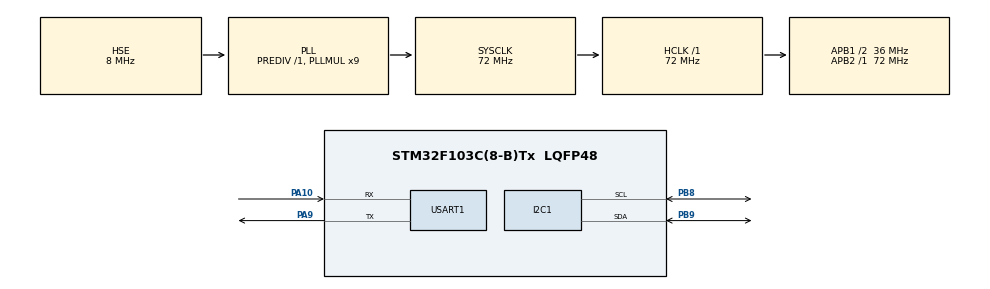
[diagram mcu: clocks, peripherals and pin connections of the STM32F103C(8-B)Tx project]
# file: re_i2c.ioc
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Dma.Request0=USART1_TX
Dma.Request1=USART1_RX
Dma.USART1_RX.1.Direction=DMA_PERIPH_TO_MEMORY
Dma.USART1_RX.1.Instance=DMA1_Channel5
Dma.USART1_RX.1.MemDataAlignment=DMA_MDATAALIGN_BYTE
Dma.USART1_RX.1.MemInc=DMA_MINC_ENABLE
Dma.USART1_RX.1.Mode=DMA_NORMAL
Dma.USART1_RX.1.PeriphDataAlignment=DMA_PDATAALIGN_BYTE
Dma.USART1_RX.1.PeriphInc=DMA_PINC_DISABLE
Dma.USART1_RX.1.Priority=DMA_PRIORITY_LOW
Dma.USART1_TX.0.Direction=DMA_MEMORY_TO_PERIPH
Dma.USART1_TX.0.Instance=DMA1_Channel4
Dma.USART1_TX.0.MemDataAlignment=DMA_MDATAALIGN_BYTE
Dma.USART1_TX.0.MemInc=DMA_MINC_ENABLE
Dma.USART1_TX.0.Mode=DMA_NORMAL
Dma.USART1_TX.0.PeriphDataAlignment=DMA_PDATAALIGN_BYTE
Dma.USART1_TX.0.PeriphInc=DMA_PINC_DISABLE
Dma.USART1_TX.0.Priority=DMA_PRIORITY_LOW
Mcu.Family=STM32F1
Mcu.Name=STM32F103C(8-B)Tx
Mcu.Package=LQFP48
NVIC.DMA1_Channel4_IRQn=true\:0\:0\:false\:false\:true\:false\:true\:true
NVIC.DMA1_Channel5_IRQn=true\:0\:0\:false\:false\:true\:false\:true\:true
NVIC.I2C1_ER_IRQn=true\:0\:0\:false\:false\:true\:true\:true\:true
NVIC.I2C1_EV_IRQn=true\:0\:0\:false\:false\:true\:true\:true\:true
NVIC.PriorityGroup=NVIC_PRIORITYGROUP_4
NVIC.USART1_IRQn=true\:0\:0\:false\:false\:true\:false\:true\:true
PA10.Mode=Asynchronous
PA10.Signal=USART1_RX
PA13.Mode=Serial_Wire
PA13.Signal=SYS_JTMS-SWDIO
PA14.Mode=Serial_Wire
PA14.Signal=SYS_JTCK-SWCLK
PA9.Mode=Asynchronous
PA9.Signal=USART1_TX
PB8.Mode=I2C
PB8.Signal=I2C1_SCL
PB9.Mode=I2C
PB9.Signal=I2C1_SDA
PD0-OSC_IN.Mode=HSE-External-Oscillator
PD0-OSC_IN.Signal=RCC_OSC_IN
PD1-OSC_OUT.Mode=HSE-External-Oscillator
PD1-OSC_OUT.Signal=RCC_OSC_OUT
ProjectManager.HeapSize=0x200
ProjectManager.StackSize=0x400
ProjectManager.TargetToolchain=MDK-ARM V5.32
RCC.AHBFreq_Value=72000000
RCC.APB1CLKDivider=RCC_HCLK_DIV2
RCC.APB1Freq_Value=36000000
RCC.APB1TimFreq_Value=72000000
RCC.APB2Freq_Value=72000000
RCC.APB2TimFreq_Value=72000000
RCC.HCLKFreq_Value=72000000
RCC.PLLMUL=RCC_PLL_MUL9
RCC.PLLSourceVirtual=RCC_PLLSOURCE_HSE
RCC.SYSCLKFreq_VALUE=72000000
RCC.SYSCLKSource=RCC_SYSCLKSOURCE_PLLCLK
RCC.USBFreq_Value=72000000
USART1.VirtualMode=VM_ASYNC
board=custom

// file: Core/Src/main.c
/* USER CODE BEGIN Header */
/**
  ******************************************************************************
  * @file           : main.c
  * @brief          : Main program body
  ******************************************************************************
  * @attention
  *
  * Copyright (c) 2026 STMicroelectronics.
  * All rights reserved.
  *
  * This software is licensed under terms that can be found in the LICENSE file
  * in the root directory of this software component.
  * If no LICENSE file comes with this software, it is provided AS-IS.
  *
  ******************************************************************************
  */
/* USER CODE END Header */
#include "main.h"
#include "dma.h"
#include "i2c.h"
#include "usart.h"
#include "gpio.h"

/* USER CODE BEGIN Includes */
#include "aht20.h"
#include<stdio.h>
#include<string.h>
/* USER CODE END Includes */

/* USER CODE BEGIN PV */
uint8_t aht20State = 0;
/* USER CODE END PV */

void SystemClock_Config(void);

int main(void)
{

  /* MCU Configuration--------------------------------------------------------*/

  /* Reset of all peripherals, Initializes the Flash interface and the Systick. */
  HAL_Init();

  /* Configure the system clock */
  SystemClock_Config();

  /* Initialize all configured peripherals */
  MX_GPIO_Init();
  MX_DMA_Init();
  MX_I2C1_Init();
  MX_USART1_UART_Init();
  /* USER CODE BEGIN 2 */
void AHT20_Init();
float Temperature, Humidity;

  /* USER CODE END 2 */

  /* Infinite loop */
  /* USER CODE BEGIN WHILE */
  while (1)
  {
    if(aht20State == 0)
    {
      AHT20_Measure();
      aht20State = 1;
    }
    else if(aht20State == 1)
    {

    }
    else if(aht20State == 2)
    {
      HAL_Delay(75);
      AHT20_Get();
      aht20State = 3;

    }
    else if(aht20State == 3)
    {

    }
    else if(aht20State == 4)
    {
      char message[50];
      AHT20_Analysis( &Temperature ,  &Humidity );
      sprintf( message, "温度：%.2f℃, 湿度：%.2f%%\r\n", Temperature, Humidity );
      HAL_I2C_Master_Transmit(&hi2c1, 0x38<<1, (uint8_t*) message, strlen(message), 100);

      HAL_Delay(1000);
      aht20State = 0;
    }

    // char message[50];

    // AHT20_Read( &Temperature ,  &Humidity );

    // sprintf( message, "温度：%.2f℃, 湿度：%.2f%%\r\n", Temperature, Humidity );
    // HAL_UART_Transmit(&huart1, (uint8_t*)message, strlen(message), 100);
    // HAL_Delay(1000);

    /* USER CODE END WHILE */

    /* USER CODE BEGIN 3 */
  }//   贾大姐嗷嗷的
  /* USER CODE END 3 */
}

void SystemClock_Config(void)
{
  RCC_OscInitTypeDef RCC_OscInitStruct = {0};
  RCC_ClkInitTypeDef RCC_ClkInitStruct = {0};

  /** Initializes the RCC Oscillators according to the specified parameters
  * in the RCC_OscInitTypeDef structure.
  */
  RCC_OscInitStruct.OscillatorType = RCC_OSCILLATORTYPE_HSE;
  RCC_OscInitStruct.HSEState = RCC_HSE_ON;
  RCC_OscInitStruct.HSEPredivValue = RCC_HSE_PREDIV_DIV1;
  RCC_OscInitStruct.HSIState = RCC_HSI_ON;
  RCC_OscInitStruct.PLL.PLLState = RCC_PLL_ON;
  RCC_OscInitStruct.PLL.PLLSource = RCC_PLLSOURCE_HSE;
  RCC_OscInitStruct.PLL.PLLMUL = RCC_PLL_MUL9;
  if (HAL_RCC_OscConfig(&RCC_OscInitStruct) != HAL_OK)
  {
    Error_Handler();
  }

  /** Initializes the CPU, AHB and APB buses clocks
  */
  RCC_ClkInitStruct.ClockType = RCC_CLOCKTYPE_HCLK|RCC_CLOCKTYPE_SYSCLK
                              |RCC_CLOCKTYPE_PCLK1|RCC_CLOCKTYPE_PCLK2;
  RCC_ClkInitStruct.SYSCLKSource = RCC_SYSCLKSOURCE_PLLCLK;
  RCC_ClkInitStruct.AHBCLKDivider = RCC_SYSCLK_DIV1;
  RCC_ClkInitStruct.APB1CLKDivider = RCC_HCLK_DIV2;
  RCC_ClkInitStruct.APB2CLKDivider = RCC_HCLK_DIV1;

  if (HAL_RCC_ClockConfig(&RCC_ClkInitStruct, FLASH_LATENCY_2) != HAL_OK)
  {
    Error_Handler();
  }
}

void Error_Handler(void)
{
  __disable_irq();
  while (1)
  {
  }
}
